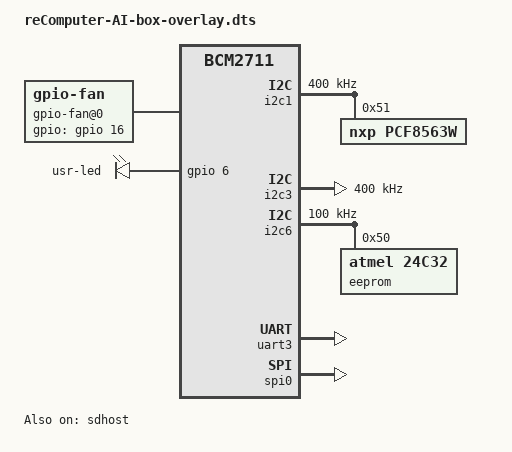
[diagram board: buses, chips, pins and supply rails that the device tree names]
/*
 * Copyright (C) 2021 Seeed Studio
 * ruiqian <ruiqian.tang@seeed.cc>
 *
 * MIT License
 *
 */
 /dts-v1/;
 /plugin/;

 #include "dt-bindings/gpio/gpio.h"

 / {
	compatible = "brcm,bcm2835", "brcm,bcm2708", "brcm,bcm2709", "brcm,bcm2711";

	fragment@0 {
        target-path="/";
        __overlay__ {
            hardware = "reComputer AI BOX V1.0";
        };
    };

	fragment@23 {
		target = <&i2c1>;
		__overlay__ {
			status = "okay";
			clock-frequency = <400000>;
			#address-cells = <1>;
			#size-cells = <0>;

			pcf8563w@51 {
				compatible = "nxp,pcf8563w";
				reg = <0x51>;
				reset-source;
				/* 0 = 4096Hz, 1 = 64Hz, 2 = 1Hz, 3 = 1/60Hz */
				timer-frequency = <0x02>;
				/* Timeout count, max 255 min 2*/
				default-timeout =  <120>;
				min-hw-heartbeat-ms = <2000>;
			};
		};
	};

	fragment@3 {
		target = <&i2c3>;
		__overlay__ {
			status = "okay";
			clock-frequency = <400000>;
			#address-cells = <1>;
			#size-cells = <0>;
		};
	};

	fragment@5 {
		target = <&i2c6>;
		__overlay__ {
			status = "okay";
			clock-frequency = <100000>;
			#address-cells = <1>;
			#size-cells = <0>;
			
			eeprom@50 {
				compatible = "atmel,24c32";
				reg = <0x50>;
			};

		};
	};

	fragment@6 {
		target = <&i2c1_pins>;
		__overlay__ {
			brcm,pins = <44 45>;
			brcm,function = <6>; /* alt1 */
		};
	};

	fragment@7 {
		target = <&i2c3_pins>;
		__overlay__ {
			brcm,pins = <2 3>;
		};
	};

	fragment@8 {
		target = <&i2c6_pins>;
		__overlay__ {
			brcm,pins = <0 1>;
		};
	};

	fragment@9 {
		target = <&uart3>;
		__overlay__ {
			label = "RS232";
			status = "okay";
		};
	};

	fragment@10 {
		target = <&uart3_pins>;
		__overlay__ {
			brcm,pins = <4 5>;
			brcm,pull = <0 2>;
		};
	};

	fragment@11 {
		target = <&spi0>;
		__overlay__ {
			/* needed to avoid dtc warning */
			#address-cells = <1>;
			#size-cells = <0>;
			pinctrl-names = "default";
			cs-gpios = <&gpio 8 1>;
			status = "okay";
		};
	};

	fragment@12 {
		target = <&spi0_cs_pins>;
		__overlay__ {
			brcm,pins = <8>;
		};
	};

	fragment@13 {
		target = <&spidev1>;
		__overlay__ {
			status = "disabled";
		};
	};


	fragment@14 {
		target = <&leds>;
		__overlay__ {
			compatible = "gpio-leds";
			usr_led10: usr_led0 {
				label = "usr-led";
				linux,default-trigger = "default-off";
				gpios = <&gpio 6 GPIO_ACTIVE_HIGH>;
				default-state = "off";
			};
		};
	};
	fragment@15 {
		target-path="/";
		__overlay__ {
			gpio-fan: gpio-fan@0 {
				compatible = "gpio-fan";
				gpios = <&gpio 16 0>;
				gpio-fan,speed-map = <0    0>,
									<5000 1>;
				#cooling-cells = <2>;
			};
		};
	};	
	fragment@16 {
		target = <&cpu_thermal>;
		__overlay__ {
			polling-delay = <2000>;	/* milliseconds */
		};
	};

	fragment@17 {
		target = <&thermal_trips>;
		__overlay__ {
			cpu_hot: trip-point@0 {
				temperature = <55000>;	/* (millicelsius) Fan started at 55°C */
				hysteresis = <10000>;	/* (millicelsius) Fan stopped at 45°C */
				type = "active";
			};
		};
	};

	fragment@18 {
		target = <&cooling_maps>;
		__overlay__ {
			map0 {
				trip = <&cpu_hot>;
				cooling-device = <&gpio-fan 1 1>;
			};
		};
	};

	fragment@19 {
		target = <&audio_pins>;
		__overlay__ {
			brcm,pins = <18 19>;
			brcm,function = <2>;
		};
	};

	fragment@20 {
		target = <&chosen>;
		__overlay__  {
			bootargs = "snd_bcm2835.enable_headphones=1";
		};
	};

	fragment@21 {
		target = <&sdhost>;
		frag0: __overlay__ {
			pinctrl-names = "default";
			pinctrl-0 = <&sdhost_pins>;
			bus-width = <4>;
			brcm,overclock-50 = <0>;
			brcm,pio-limit = <1>;
			status = "okay";
		};
	};

	fragment@22 {
		target = <&gpio>;
		__overlay__ {
				sdhost_pins: sdhost_pins {
				brcm,pins = <22 23 24 25 26 27>;
				brcm,function = <4 4 4 4 4 4>; /* ALT0: SD0 */
				brcm,pull = <0 2 2 2 2 2>; /* pull up all except clk */
			};
		};
	};

	__overrides__ {
		overclock_50 = <&frag0>,"brcm,overclock-50:0";
		force_pio = <&frag0>,"brcm,force-pio?";
		pio_limit = <&frag0>,"brcm,pio-limit:0";
		debug = <&frag0>,"brcm,debug?";
	};
};	
